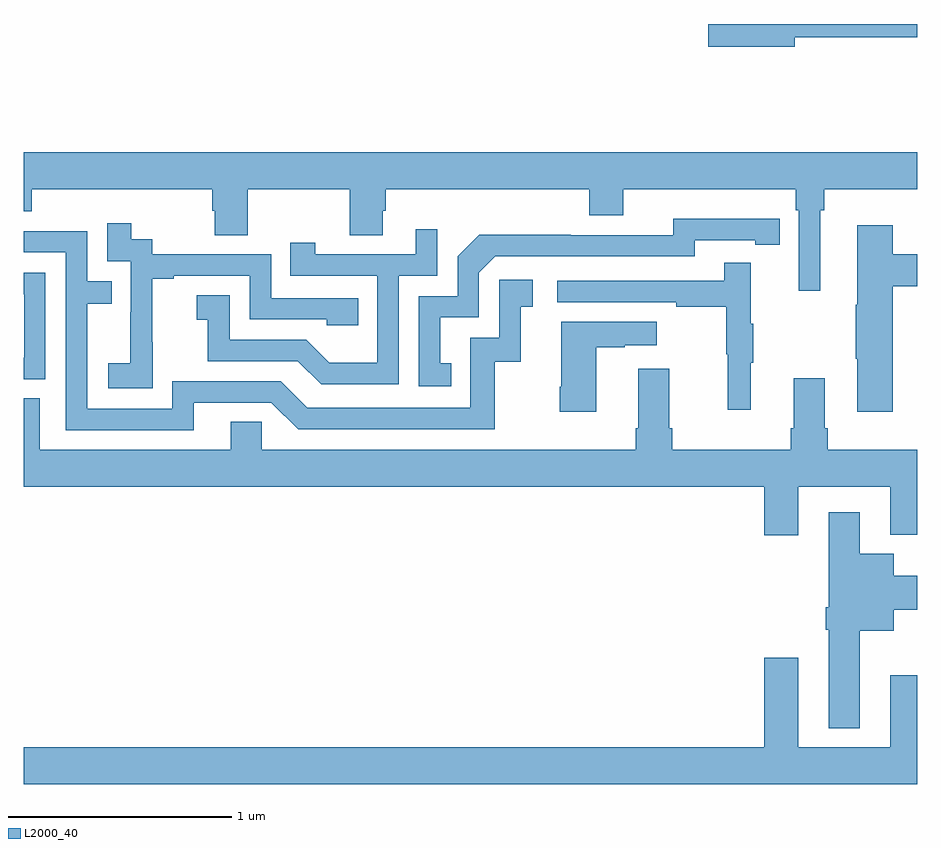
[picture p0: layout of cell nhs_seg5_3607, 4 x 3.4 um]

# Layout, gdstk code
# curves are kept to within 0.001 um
import gdstk
lib = gdstk.Library(unit=1e-6, precision=1e-09)
def P(c, l, *ps):  # polygons
    for p in ps: c.add(gdstk.Polygon(p, *l))
L2000_40 = (2000, 40)

nhs_seg5_3607 = lib.new_cell('nhs_seg5_3607')
P(nhs_seg5_3607, L2000_40, [(326.452,890.74),(327,890.74),(327,890.799),(326.064,890.799),(326.064,890.698),(326.452,890.698)],
  [(323,889.961),(323.036,889.961),(323.036,890.06),(323.843,890.06),(323.843,889.962),(323.855,889.962),(323.855,889.852),(324.003,889.852),(324.003,890.06),(324.46,890.06),(324.46,889.852),(324.607,889.852),(324.607,889.962),(324.62,889.962),(324.62,890.06),(325.532,890.06),(325.532,889.943),(325.684,889.943),(325.684,890.06),(326.456,890.06),(326.456,889.964),(326.469,889.964),(326.469,889.605),(326.566,889.605),(326.566,889.964),(326.585,889.964),(326.585,890.06),(327,890.06),(327,890.224),(323,890.224)],
  [(324.914,889.281),(324.865,889.281),(324.865,889.485),(325.038,889.485),(325.038,889.686),(325.11,889.758),(326.004,889.758),(326.004,889.83),(326.276,889.83),(326.276,889.81),(326.384,889.81),(326.384,889.926),(325.908,889.927),(325.908,889.854),(325.448,889.854),(325.448,889.856),(325.04,889.856),(324.942,889.758),(324.942,889.581),(324.768,889.581),(324.768,889.176),(324.914,889.176)],
  [(323.577,889.375),(323.576,889.375),(323.576,889.659),(323.671,889.659),(323.671,889.671),(324.012,889.671),(324.012,889.476),(324.357,889.476),(324.357,889.449),(324.497,889.449),(324.497,889.572),(324.108,889.572),(324.108,889.767),(323.574,889.767),(323.574,889.836),(323.482,889.836),(323.482,889.906),(323.373,889.906),(323.373,889.737),(323.478,889.737),(323.478,889.508),(323.477,889.508),(323.477,889.279),(323.379,889.279),(323.379,889.169),(323.577,889.169)],
  [(326.891,889.625),(327,889.625),(327,889.767),(326.891,889.767),(326.891,889.897),(326.732,889.897),(326.732,889.541),(326.725,889.541),(326.725,889.3),(326.732,889.3),(326.732,889.062),(326.891,889.062)],
  [(324.678,889.671),(324.852,889.671),(324.852,889.879),(324.755,889.879),(324.755,889.767),(324.304,889.767),(324.304,889.819),(324.193,889.819),(324.193,889.671),(324.582,889.671),(324.582,889.282),(324.368,889.282),(324.264,889.386),(323.922,889.386),(323.922,889.585),(323.775,889.585),(323.775,889.475),(323.824,889.475),(323.824,889.29),(324.227,889.29),(324.332,889.185),(324.678,889.185)],
  [(323.761,889.104),(324.108,889.104),(324.228,888.984),(325.108,888.984),(325.108,889.287),(325.226,889.287),(325.226,889.533),(325.279,889.533),(325.279,889.654),(325.128,889.654),(325.128,889.395),(324.999,889.395),(324.999,889.08),(324.27,889.08),(324.15,889.2),(323.664,889.2),(323.664,889.077),(323.283,889.077),(323.283,889.546),(323.393,889.546),(323.393,889.647),(323.283,889.647),(323.283,889.872),(323,889.872),(323,889.776),(323.187,889.776),(323.187,888.981),(323.761,888.981)],
  [(326.255,889.283),(326.266,889.283),(326.266,889.457),(326.255,889.457),(326.255,889.729),(326.137,889.729),(326.137,889.65),(325.389,889.65),(325.389,889.554),(325.921,889.554),(325.921,889.534),(326.145,889.534),(326.145,889.32),(326.152,889.32),(326.152,889.071),(326.255,889.071)],
  [(323.097,889.686),(323,889.686),(323,889.59),(323.001,889.59),(323.001,889.305),(323,889.305),(323,889.209),(323.097,889.209)],
  [(325.564,889.351),(325.691,889.351),(325.691,889.361),(325.834,889.361),(325.834,889.465),(325.406,889.465),(325.406,889.174),(325.399,889.174),(325.399,889.062),(325.564,889.062)],
  [(326.467,888.728),(326.879,888.728),(326.879,888.512),(327,888.512),(327,888.892),(326.6,888.892),(326.6,888.988),(326.587,888.988),(326.587,889.213),(326.447,889.213),(326.447,888.988),(326.435,888.988),(326.435,888.892),(325.904,888.892),(325.904,888.988),(325.891,888.988),(325.891,889.255),(325.751,889.255),(325.751,888.988),(325.739,888.988),(325.739,888.892),(324.066,888.892),(324.066,889.019),(323.927,889.019),(323.927,888.892),(323.071,888.892),(323.071,889.124),(323,889.124),(323,888.728),(326.315,888.728),(326.315,888.51),(326.467,888.51)],
  [(326.743,888.083),(326.896,888.083),(326.896,888.176),(327,888.176),(327,888.328),(326.896,888.328),(326.896,888.427),(326.743,888.427),(326.743,888.613),(326.603,888.613),(326.603,888.187),(326.591,888.187),(326.591,888.087),(326.603,888.087),(326.603,887.645),(326.743,887.645)],
  [(327,887.884),(326.879,887.884),(326.879,887.56),(326.467,887.56),(326.467,887.962),(326.315,887.962),(326.315,887.56),(323,887.56),(323,887.396),(327,887.396)])

lib.write_gds('nhs_seg5_3607.gds')
